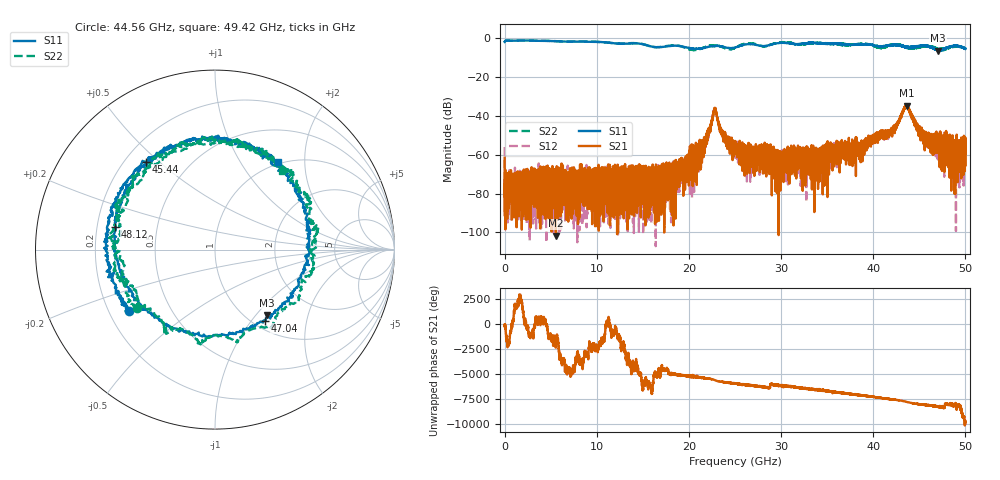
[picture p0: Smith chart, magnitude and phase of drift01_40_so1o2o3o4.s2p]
!Created with skrf (http://scikit-rf.org).
# Hz S RI R 50.0
!freq ReS11 ImS11 ReS21 ImS21 ReS12 ImS12 ReS22 ImS22
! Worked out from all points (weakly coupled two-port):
!   10001 points, 300 kHz to 50 GHz, reference 50 ohm
!   highest |S21| = -34.79 dB at 43.64 GHz (marker M1); lowest = -101.7 dB at 5.57 GHz (marker M2)
!   lowest |S11| = -6.7 dB at 47.03 GHz (marker M3), VSWR 2.74, Z = 61.3 - j57 ohm
!   |S11| at or under -10 dB: nowhere
!   |S22| runs from -6.4 to -1.4 dB; largest |S21 - S12| = 0.0038
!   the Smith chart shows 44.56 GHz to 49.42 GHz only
!   S11 on the Smith chart (normalised r, x): 44.56 GHz: 0.28, -0.30; 45.44 GHz: 0.29, +0.45; 47.04 GHz: 1.13, -1.18; 48.12 GHz: 0.28, +0.10; 49.42 GHz: 0.97, +1.49
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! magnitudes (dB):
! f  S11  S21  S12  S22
! 300 kHz  -2.1  -61.6  -56.2  -2.2
! 255.3 MHz  -1.4  -74.9  -73.7  -1.4
! 5.57 GHz  -1.8  -101.7  -78.3  -1.7
! 8.335 GHz  -1.9  -70.0  -73.7  -1.8
! 16.67 GHz  -4.8  -73.1  -71.8  -4.8
! 20.89 GHz  -5.7  -61.2  -59.2  -6.2
! 21.61 GHz  -5.2  -52.5  -54.6  -5.0
! 22.8 GHz  -4.3  -36.2  -36.2  -4.0
! 23.91 GHz  -4.8  -51.8  -50.4  -5.3
! 25 GHz  -5.0  -58.6  -56.6  -5.1
! 29.51 GHz  -2.8  -59.4  -62.5  -2.6
! 33.34 GHz  -2.6  -63.0  -62.4  -2.7
! 38.7 GHz  -3.3  -57.1  -56.6  -3.1
! 41.67 GHz  -3.9  -48.4  -49.4  -4.4
! 43.64 GHz  -5.0  -34.8  -34.7  -5.0
! 44.56 GHz  -4.6  -42.3  -44.1  -5.3
! 45.44 GHz  -4.1  -50.6  -51.5  -4.3
! 47.03 GHz  -6.7  -50.7  -50.9  -6.0
! 47.04 GHz  -6.3  -58.4  -62.5  -5.7
! 48.12 GHz  -4.9  -51.0  -55.4  -5.1
! 49.42 GHz  -4.4  -64.6  -59.1  -4.8
! 50 GHz  -5.5  -59.4  -53.6  -5.3
